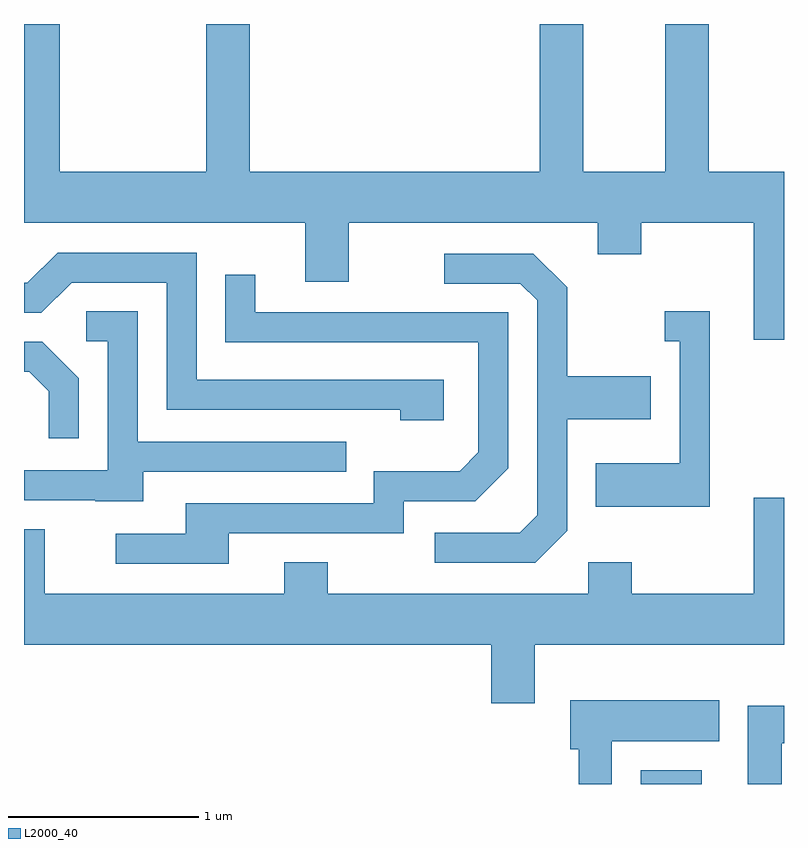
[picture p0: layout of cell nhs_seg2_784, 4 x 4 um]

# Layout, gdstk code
import gdstk
lib = gdstk.Library(unit=1e-6, precision=1e-09)
def R(c, l, rs):  # rectangles x0, y0, x1, y1
    for r in rs: c.add(gdstk.rectangle(r[:2], r[2:], *l))
def P(c, l, *ps):  # polygons
    for p in ps: c.add(gdstk.Polygon(p, *l))
L2000_40 = (2000, 40)

nhs_seg2_784 = lib.new_cell('nhs_seg2_784')
R(nhs_seg2_784, L2000_40, [(210.856,1049.802,211.179,1049.874)])
P(nhs_seg2_784, L2000_40, [(211.611,1053.024),(211.214,1053.024),(211.214,1053.802),(210.986,1053.802),(210.986,1053.024),(210.554,1053.024),(210.554,1053.802),(210.326,1053.802),(210.326,1053.024),(208.799,1053.024),(208.799,1053.802),(208.571,1053.802),(208.571,1053.024),(207.799,1053.024),(207.799,1053.802),(207.611,1053.802),(207.611,1052.756),(209.091,1052.756),(209.091,1052.446),(209.319,1052.446),(209.319,1052.756),(210.631,1052.756),(210.631,1052.591),(210.859,1052.591),(210.859,1052.756),(211.451,1052.756),(211.451,1052.141),(211.611,1052.141)],
  [(209.819,1051.929),(208.519,1051.929),(208.519,1052.599),(207.789,1052.599),(207.629,1052.439),(207.611,1052.439),(207.611,1052.281),(207.702,1052.281),(207.862,1052.441),(208.361,1052.441),(208.361,1051.771),(209.591,1051.771),(209.591,1051.716),(209.819,1051.716)],
  [(210.469,1051.134),(210.469,1051.721),(210.909,1051.721),(210.909,1051.949),(210.469,1051.949),(210.469,1052.417),(210.292,1052.594),(209.823,1052.594),(209.823,1052.436),(210.224,1052.436),(210.311,1052.349),(210.311,1051.217),(210.219,1051.124),(209.773,1051.124),(209.773,1050.966),(210.302,1050.966)],
  [(208.689,1051.121),(209.609,1051.121),(209.609,1051.291),(209.987,1051.291),(210.159,1051.464),(210.159,1052.284),(208.829,1052.284),(208.829,1052.483),(208.671,1052.483),(208.671,1052.126),(210.001,1052.126),(210.001,1051.547),(209.904,1051.449),(209.451,1051.449),(209.451,1051.279),(208.461,1051.279),(208.461,1051.119),(208.093,1051.119),(208.093,1050.961),(208.689,1050.961)],
  [(208.239,1051.446),(209.308,1051.446),(209.308,1051.604),(208.209,1051.604),(208.209,1052.289),(207.938,1052.289),(207.938,1052.131),(208.051,1052.131),(208.051,1051.454),(207.611,1051.454),(207.611,1051.296),(207.985,1051.296),(207.985,1051.291),(208.239,1051.291)],
  [(211.219,1052.289),(210.983,1052.289),(210.983,1052.131),(211.061,1052.131),(211.061,1051.489),(210.621,1051.489),(210.621,1051.261),(211.219,1051.261)],
  [(207.899,1051.937),(207.707,1052.129),(207.611,1052.129),(207.611,1051.971),(207.639,1051.971),(207.741,1051.869),(207.741,1051.623),(207.899,1051.623)],
  [(210.299,1050.536),(211.611,1050.536),(211.611,1051.309),(211.451,1051.309),(211.451,1050.804),(210.809,1050.804),(210.809,1050.969),(210.581,1050.969),(210.581,1050.804),(209.209,1050.804),(209.209,1050.969),(208.981,1050.969),(208.981,1050.804),(207.719,1050.804),(207.719,1051.144),(207.611,1051.144),(207.611,1050.536),(210.071,1050.536),(210.071,1050.226),(210.299,1050.226)],
  [(210.704,1050.026),(211.269,1050.026),(211.269,1050.244),(210.486,1050.244),(210.486,1049.986),(210.531,1049.986),(210.531,1049.802),(210.704,1049.802)],
  [(211.599,1050.016),(211.611,1050.016),(211.611,1050.214),(211.421,1050.214),(211.421,1049.802),(211.599,1049.802)])

lib.write_gds('nhs_seg2_784.gds')
